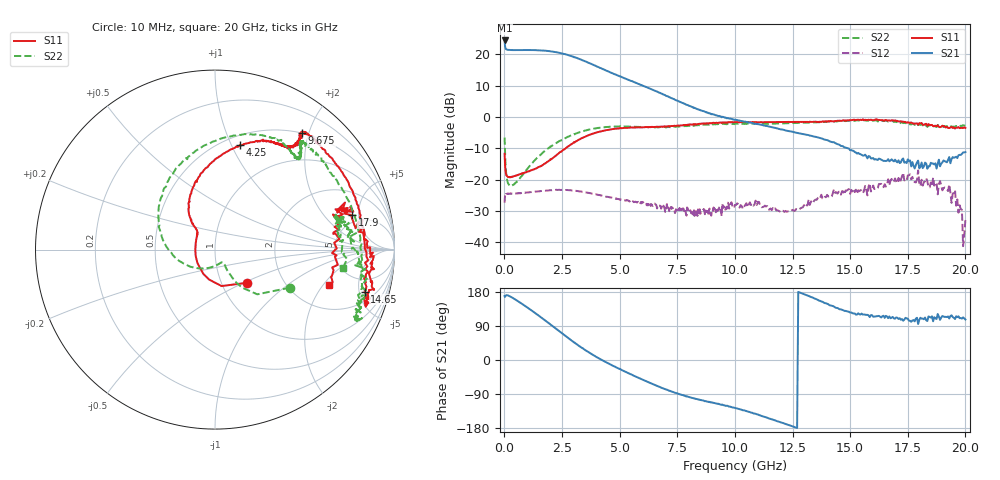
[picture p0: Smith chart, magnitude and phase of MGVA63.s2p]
! File created by 'Testlink'
! SoftPlot for Genesys Testlink
! Start 10.000000000000 MHz  Stop 20.000000000000 GHz  Points 660
# MHZ S RI R 50
! S-Parameter data, F S11 S21 S12 S22
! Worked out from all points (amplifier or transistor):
!   660 points, 10 MHz to 20 GHz, reference 50 ohm
!   highest |S21| = 24.4 dB at 10 MHz (marker M1)
!   |S21| within 3 dB of that: start of sweep to 158.2 MHz
!   unconditionally stable (mu >= 1): 52.46 MHz to 1.847 GHz; 1.854 GHz to 1.887 GHz; 3.992 GHz to end of sweep
!   at 1.275 GHz: K = 1.03, MAG = 21.6 dB, |S12| = -23.9 dB
!   at 6.775 GHz: K = 1.50, MAG = 13.9 dB, |S12| = -28.5 dB
!   at 20 GHz: K = 21.80, MAG = -5.5 dB, |S12| = -32.9 dB
!   S11 on the Smith chart (normalised r, x): 10 MHz: 1.32, -0.52; 4.25 GHz: 0.60, +1.07; 9.675 GHz: 0.50, +1.89; 14.65 GHz: 3.03, -5.68; 17.9 GHz: 4.12, +4.19; 20 GHz: 3.22, -2.30
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10  0.181 -0.1845  -16.28 3.177  0.0392 0.0175  0.4168 -0.2122
50  -0.0802 -0.1082  -12.21 2.298  0.0582 0.00814  0.0912 -0.1488
90  -0.1028 -0.056  -11.78 1.865  0.0587 0.00405  0.0594 -0.0982
250  -0.1091 0.00813  -11.4 2.489  0.0595 -0.000573  0.0383 -0.0702
970  -0.0979 0.0888  -8.891 7.545  0.0613 -0.0101  -0.1008 -0.103
1450  -0.1064 0.1144  -5.588 10.15  0.0619 -0.0181  -0.2257 -0.0409
1900  -0.1264 0.1485  -1.648 11.13  0.0612 -0.0275  -0.3019 0.0886
2275  -0.1452 0.2007  1.7 10.6  0.0583 -0.036  -0.3137 0.2303
2700  -0.1404 0.2937  4.768 8.631  0.0514 -0.0449  -0.2549 0.3965
3000  -0.1126 0.3715  6.156 6.697  0.0449 -0.0498  -0.1748 0.4978
3350  -0.0514 0.4546  6.836 4.352  0.0364 -0.0531  -0.056 0.5817
4250  0.1376 0.5809  5.822 -0.0758  0.0173 -0.0521  0.2243 0.6417
5300  0.2856 0.6015  3.386 -2.166  0.00408 -0.047  0.3877 0.5821
6675  0.3892 0.5775  0.8613 -2.329  -0.00518 -0.0385  0.4523 0.5129
7825  0.453 0.5887  -0.1235 -1.612  -0.00518 -0.0332  0.4769 0.5335
9675  0.485 0.6486  -0.4878 -0.8194  0.00121 -0.0391  0.4867 0.6049
10050  0.5141 0.6458  -0.5419 -0.7144  -0.00856 -0.0384  0.5147 0.5873
13350  0.8213 0.13  -0.4786 0.1247  -0.0465 0.00196  0.8116 0.00264
14650  0.8336 -0.2341  -0.2319 0.2539  -0.0332 0.0564  0.7834 -0.333
16700  0.8763 -0.0734  -0.0824 0.1772  -0.00171 0.0817  0.8242 -0.1972
17900  0.766 0.1915  -0.0686 0.1754  0.0271 0.0952  0.7875 0.0928
20000  0.6348 -0.1991  -0.0795 0.2631  0.0225 -0.00279  0.7139 -0.101
